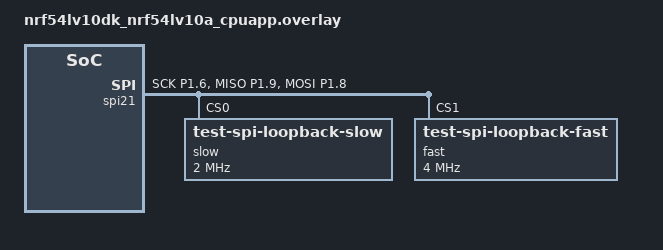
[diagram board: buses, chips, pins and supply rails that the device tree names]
/*
 * Copyright (c) 2026 Nordic Semiconductor ASA
 *
 * SPDX-License-Identifier: Apache-2.0
 */

/* Test requires following loopback:
 * P1.09 - P1.08
 */

&pinctrl {
	spi21_default: spi21_default {
		group1 {
			psels = <NRF_PSEL(SPIM_SCK, 1, 6)>,
				<NRF_PSEL(SPIM_MISO, 1, 9)>,
				<NRF_PSEL(SPIM_MOSI, 1, 8)>;
		};
	};

	spi21_sleep: spi21_sleep {
		group1 {
			psels = <NRF_PSEL(SPIM_SCK, 1, 6)>,
				<NRF_PSEL(SPIM_MISO, 1, 9)>,
				<NRF_PSEL(SPIM_MOSI, 1, 8)>;
			low-power-enable;
		};
	};
};

&spi21 {
	status = "okay";
	pinctrl-0 = <&spi21_default>;
	pinctrl-1 = <&spi21_sleep>;
	pinctrl-names = "default", "sleep";
	overrun-character = <0x00>;
	zephyr,pm-device-runtime-auto;

	slow@0 {
		compatible = "test-spi-loopback-slow";
		reg = <0>;
		spi-max-frequency = <DT_FREQ_M(2)>;
	};

	fast@1 {
		compatible = "test-spi-loopback-fast";
		reg = <1>;
		spi-max-frequency = <DT_FREQ_M(4)>;
	};
};

&gpio1 {
	status = "okay";
};
